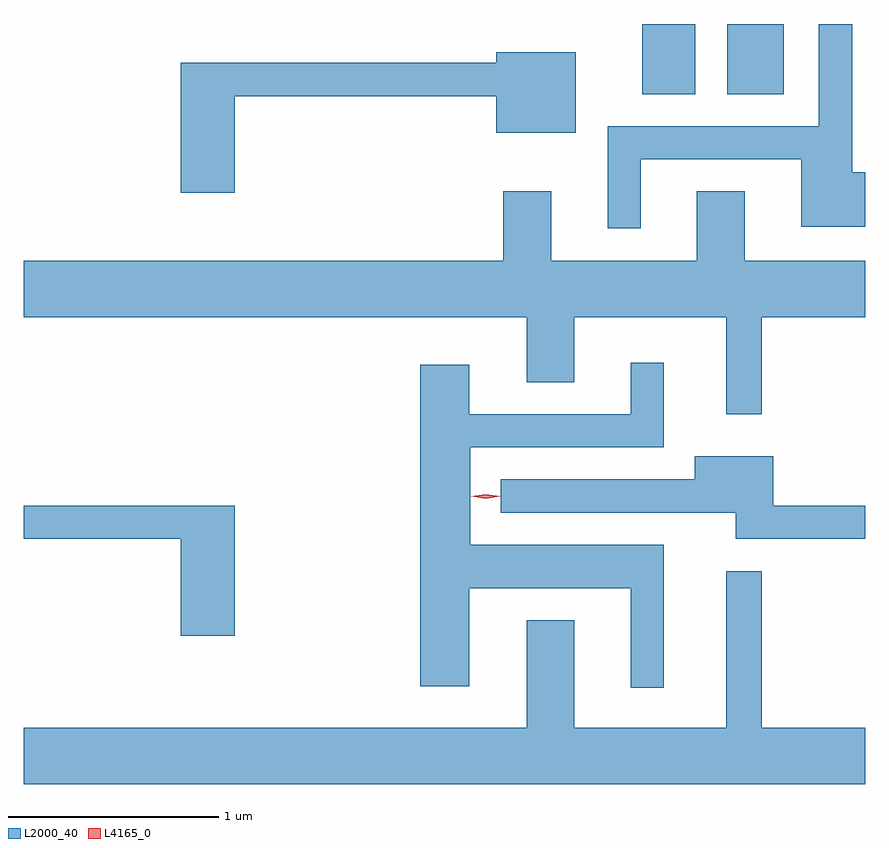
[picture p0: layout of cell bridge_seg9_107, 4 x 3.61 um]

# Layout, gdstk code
import gdstk
lib = gdstk.Library(unit=1e-6, precision=1e-09)
def R(c, l, rs):  # rectangles x0, y0, x1, y1
    for r in rs: c.add(gdstk.rectangle(r[:2], r[2:], *l))
def P(c, l, *ps):  # polygons
    for p in ps: c.add(gdstk.Polygon(p, *l))
L2000_40 = (2000, 40)
L4165_0 = (4165, 0)

bridge_seg9_107 = lib.new_cell('bridge_seg9_107')
R(bridge_seg9_107, L2000_40, [(1823.261,1970.676,1823.514,1971.009), (1823.666,1970.676,1823.934,1971.009)])
P(bridge_seg9_107, L2000_40, [(1823.254,1970.366),(1824.016,1970.366),(1824.016,1970.046),(1824.321,1970.046),(1824.321,1970.304),(1824.259,1970.304),(1824.259,1971.009),(1824.101,1971.009),(1824.101,1970.524),(1823.096,1970.524),(1823.096,1970.038),(1823.254,1970.038)],
  [(1821.324,1970.666),(1822.566,1970.666),(1822.566,1970.491),(1822.944,1970.491),(1822.944,1970.874),(1822.566,1970.874),(1822.566,1970.824),(1821.066,1970.824),(1821.066,1970.206),(1821.324,1970.206)],
  [(1823.829,1969.616),(1824.321,1969.616),(1824.321,1969.884),(1823.749,1969.884),(1823.749,1970.214),(1823.521,1970.214),(1823.521,1969.884),(1822.829,1969.884),(1822.829,1970.214),(1822.601,1970.214),(1822.601,1969.884),(1820.321,1969.884),(1820.321,1969.616),(1822.711,1969.616),(1822.711,1969.306),(1822.939,1969.306),(1822.939,1969.616),(1823.661,1969.616),(1823.661,1969.153),(1823.829,1969.153)],
  [(1823.364,1968.534),(1822.444,1968.534),(1822.444,1968.996),(1823.364,1968.996),(1823.364,1969.398),(1823.206,1969.398),(1823.206,1969.154),(1822.439,1969.154),(1822.439,1969.389),(1822.206,1969.389),(1822.206,1967.861),(1822.439,1967.861),(1822.439,1968.326),(1823.206,1968.326),(1823.206,1967.853),(1823.364,1967.853)],
  [(1824.321,1968.719),(1823.884,1968.719),(1823.884,1968.954),(1823.511,1968.954),(1823.511,1968.844),(1822.588,1968.844),(1822.588,1968.686),(1823.706,1968.686),(1823.706,1968.561),(1824.321,1968.561)],
  [(1821.324,1968.719),(1820.321,1968.719),(1820.321,1968.561),(1821.066,1968.561),(1821.066,1968.101),(1821.324,1968.101)],
  [(1824.321,1967.664),(1823.829,1967.664),(1823.829,1968.408),(1823.661,1968.408),(1823.661,1967.664),(1822.939,1967.664),(1822.939,1968.174),(1822.711,1968.174),(1822.711,1967.664),(1820.321,1967.664),(1820.321,1967.396),(1824.321,1967.396)])
P(bridge_seg9_107, L4165_0, [(1822.517,1968.753),(1822.448,1968.763),(1822.447,1968.763),(1822.448,1968.764),(1822.517,1968.773),(1822.586,1968.764),(1822.586,1968.763),(1822.586,1968.763)],
  [(1822.517,1968.753),(1822.451,1968.763),(1822.45,1968.763),(1822.451,1968.764),(1822.517,1968.773),(1822.582,1968.764),(1822.583,1968.763),(1822.582,1968.763)])

lib.write_gds('bridge_seg9_107.gds')
